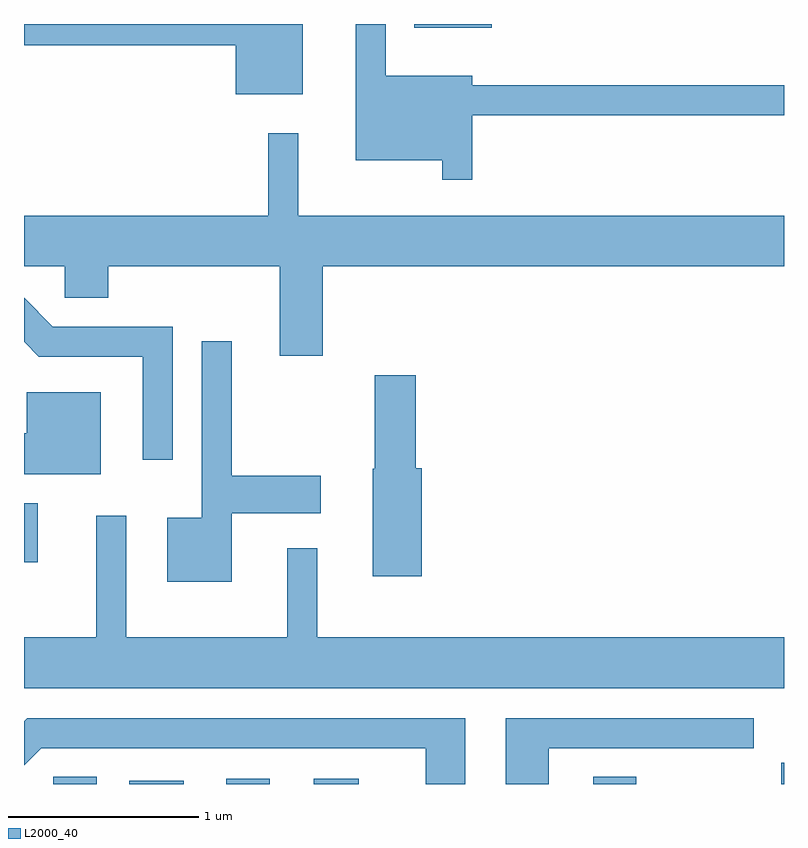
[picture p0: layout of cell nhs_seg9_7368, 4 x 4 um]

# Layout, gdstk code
import gdstk
lib = gdstk.Library(unit=1e-6, precision=1e-09)
def R(c, l, rs):  # rectangles x0, y0, x1, y1
    for r in rs: c.add(gdstk.rectangle(r[:2], r[2:], *l))
def P(c, l, *ps):  # polygons
    for p in ps: c.add(gdstk.Polygon(p, *l))
L2000_40 = (2000, 40)

nhs_seg9_7368 = lib.new_cell('nhs_seg9_7368')
R(nhs_seg9_7368, L2000_40, [(403.766,1982.432,403.994,1982.469), (404.166,1982.432,404.453,1982.449), (404.676,1982.432,404.904,1982.459), (405.136,1982.432,405.373,1982.459), (406.606,1982.432,406.834,1982.469), (407.596,1982.432,407.611,1982.543), (403.611,1983.598,403.684,1983.909), (405.666,1986.411,406.074,1986.432)])
P(nhs_seg9_7368, L2000_40, [(405.079,1986.432),(403.611,1986.432),(403.611,1986.321),(404.726,1986.321),(404.726,1986.061),(405.079,1986.061)],
  [(405.969,1985.951),(407.611,1985.951),(407.611,1986.109),(405.969,1986.109),(405.969,1986.159),(405.514,1986.159),(405.514,1986.432),(405.356,1986.432),(405.356,1985.716),(405.811,1985.716),(405.811,1985.613),(405.969,1985.613)],
  [(405.184,1985.156),(407.611,1985.156),(407.611,1985.424),(405.054,1985.424),(405.054,1985.858),(404.896,1985.858),(404.896,1985.424),(403.611,1985.424),(403.611,1985.156),(403.826,1985.156),(403.826,1984.991),(404.054,1984.991),(404.054,1985.156),(404.956,1985.156),(404.956,1984.686),(405.184,1984.686)],
  [(404.394,1984.839),(403.762,1984.839),(403.611,1984.99),(403.611,1984.759),(403.689,1984.681),(404.236,1984.681),(404.236,1984.138),(404.394,1984.138)],
  [(404.704,1983.856),(405.174,1983.856),(405.174,1984.054),(404.704,1984.054),(404.704,1984.763),(404.546,1984.763),(404.546,1983.834),(404.366,1983.834),(404.366,1983.496),(404.704,1983.496)],
  [(405.704,1984.094),(405.674,1984.094),(405.674,1984.584),(405.456,1984.584),(405.456,1984.09),(405.446,1984.09),(405.446,1983.526),(405.704,1983.526)],
  [(404.014,1984.494),(403.626,1984.494),(403.626,1984.279),(403.611,1984.279),(403.611,1984.061),(404.014,1984.061)],
  [(407.611,1983.204),(405.154,1983.204),(405.154,1983.673),(404.996,1983.673),(404.996,1983.204),(404.149,1983.204),(404.149,1983.843),(403.991,1983.843),(403.991,1983.204),(403.611,1983.204),(403.611,1982.936),(407.611,1982.936)],
  [(405.934,1982.779),(403.629,1982.779),(403.611,1982.761),(403.611,1982.531),(403.702,1982.621),(405.726,1982.621),(405.726,1982.432),(405.934,1982.432)],
  [(406.374,1982.621),(407.453,1982.621),(407.453,1982.779),(406.146,1982.779),(406.146,1982.432),(406.374,1982.432)])

lib.write_gds('nhs_seg9_7368.gds')
